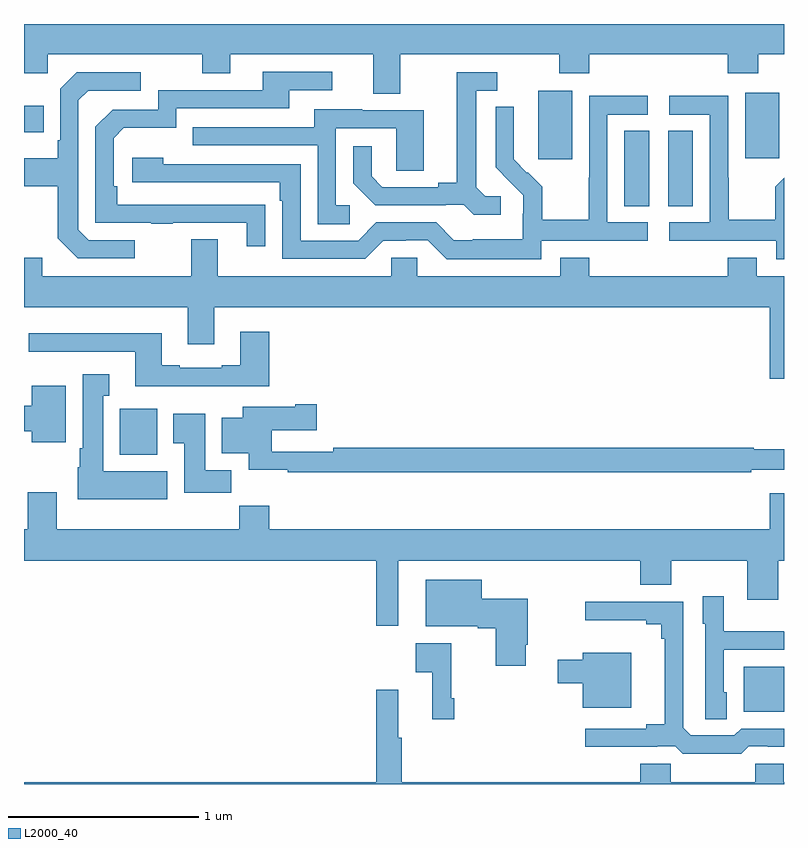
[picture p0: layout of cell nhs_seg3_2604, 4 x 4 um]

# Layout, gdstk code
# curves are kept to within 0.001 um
import gdstk
lib = gdstk.Library(unit=1e-6, precision=1e-09)
def R(c, l, rs):  # rectangles x0, y0, x1, y1
    for r in rs: c.add(gdstk.rectangle(r[:2], r[2:], *l))
def P(c, l, *ps):  # polygons
    for p in ps: c.add(gdstk.Polygon(p, *l))
L2000_40 = (2000, 40)

nhs_seg3_2604 = lib.new_cell('nhs_seg3_2604')
R(nhs_seg3_2604, L2000_40, [(248.789,706.781,249,707.017), (245.504,708.134,245.701,708.376), (248.159,709.441,248.29,709.838), (248.39,709.441,248.521,709.838), (247.706,709.689,247.885,710.05), (248.795,709.694,248.974,710.038), (245,709.829,245.105,709.969)])
P(nhs_seg3_2604, L2000_40, [(246.979,710.24),(247.816,710.24),(247.816,710.141),(247.976,710.141),(247.976,710.24),(248.705,710.24),(248.705,710.141),(248.865,710.141),(248.865,710.24),(249,710.24),(249,710.4),(245,710.4),(245,710.141),(245.124,710.141),(245.124,710.24),(245.938,710.24),(245.938,710.141),(246.085,710.141),(246.085,710.24),(246.839,710.24),(246.839,710.032),(246.979,710.032)],
  [(246.269,709.448),(245.492,709.449),(245.492,709.546),(245.472,709.546),(245.472,709.8),(245.525,709.853),(245.802,709.853),(245.802,709.956),(246.397,709.956),(246.397,710.052),(246.622,710.052),(246.622,710.148),(246.257,710.148),(246.257,710.052),(245.706,710.052),(245.706,709.95),(245.466,709.95),(245.376,709.86),(245.376,709.353),(245.671,709.353),(245.671,709.348),(245.783,709.348),(245.783,709.353),(246.173,709.353),(246.173,709.23),(246.269,709.23)],
  [(245.584,709.263),(245.34,709.263),(245.286,709.317),(245.286,709.998),(245.337,710.049),(245.614,710.049),(245.614,710.145),(245.277,710.145),(245.19,710.058),(245.19,709.789),(245.178,709.789),(245.178,709.693),(245,709.693),(245,709.546),(245.178,709.546),(245.178,709.273),(245.283,709.167),(245.584,709.167)],
  [(247.51,709.494),(247.428,709.494),(247.381,709.541),(247.381,710.049),(247.492,710.049),(247.492,710.145),(247.277,710.145),(247.277,709.565),(247.181,709.565),(247.181,709.542),(246.886,709.542),(246.829,709.599),(246.829,709.756),(246.732,709.756),(246.732,709.562),(246.848,709.446),(247.22,709.446),(247.22,709.449),(247.314,709.449),(247.366,709.397),(247.51,709.397)],
  [(247.722,709.26),(248.284,709.26),(248.284,709.356),(248.07,709.356),(248.07,709.923),(248.284,709.923),(248.284,710.022),(247.974,710.022),(247.974,709.592),(247.972,709.592),(247.972,709.369),(247.727,709.369),(247.727,709.543),(247.65,709.62),(247.647,709.617),(247.577,709.688),(247.578,709.964),(247.482,709.964),(247.482,709.646),(247.628,709.498),(247.628,709.401),(247.626,709.401),(247.626,709.267),(247.363,709.267),(247.363,709.263),(247.263,709.263),(247.17,709.356),(246.855,709.356),(246.759,709.26),(246.456,709.26),(246.456,709.662),(245.732,709.662),(245.732,709.696),(245.571,709.696),(245.571,709.566),(246.347,709.566),(246.347,709.469),(246.36,709.469),(246.36,709.164),(246.795,709.164),(246.891,709.26),(247.01,709.26),(247.01,709.263),(247.125,709.263),(247.225,709.163),(247.722,709.163)],
  [(249,709.59),(248.953,709.543),(248.953,709.369),(248.709,709.369),(248.709,709.592),(248.706,709.592),(248.706,710.022),(248.397,710.022),(248.397,709.923),(248.61,709.923),(248.61,709.356),(248.397,709.356),(248.397,709.26),(248.958,709.26),(248.958,709.163),(249,709.163)],
  [(246.715,709.446),(246.642,709.446),(246.642,709.851),(246.96,709.851),(246.96,709.627),(247.105,709.627),(247.105,709.947),(246.781,709.947),(246.781,709.951),(246.527,709.951),(246.527,709.857),(245.887,709.857),(245.887,709.761),(246.546,709.761),(246.546,709.345),(246.715,709.345)],
  [(249,709.072),(248.857,709.072),(248.857,709.171),(248.705,709.171),(248.705,709.072),(247.976,709.072),(247.976,709.171),(247.823,709.171),(247.823,709.072),(247.071,709.072),(247.071,709.17),(246.933,709.17),(246.933,709.072),(246.019,709.072),(246.019,709.267),(245.879,709.267),(245.879,709.072),(245.095,709.072),(245.095,709.171),(245,709.171),(245,708.908),(245.861,708.908),(245.861,708.714),(246.001,708.714),(246.001,708.908),(248.924,708.908),(248.924,708.534),(249,708.534)],
  [(246.29,708.781),(246.137,708.781),(246.137,708.604),(246.041,708.604),(246.041,708.591),(245.821,708.591),(245.821,708.604),(245.725,708.604),(245.725,708.772),(245.025,708.772),(245.025,708.675),(245.585,708.675),(245.585,708.494),(246.29,708.494)],
  [(245.755,708.046),(245.416,708.046),(245.416,708.443),(245.449,708.443),(245.449,708.556),(245.309,708.556),(245.309,708.166),(245.294,708.166),(245.294,708.066),(245.282,708.066),(245.282,707.9),(245.755,707.9)],
  [(245.221,708.496),(245.042,708.496),(245.042,708.392),(245,708.392),(245,708.256),(245.042,708.256),(245.042,708.2),(245.221,708.2)],
  [(248.828,708.054),(249,708.054),(249,708.163),(248.842,708.163),(248.842,708.17),(246.628,708.17),(246.628,708.15),(246.305,708.15),(246.305,708.263),(246.541,708.263),(246.541,708.398),(246.428,708.398),(246.428,708.385),(246.152,708.385),(246.152,708.328),(246.041,708.328),(246.041,708.14),(246.182,708.14),(246.182,708.053),(246.388,708.053),(246.388,708.042),(248.828,708.042)],
  [(246.092,708.052),(245.953,708.052),(245.953,708.349),(245.786,708.349),(245.786,708.193),(245.843,708.193),(245.843,707.934),(246.092,707.934)],
  [(246.97,707.576),(248.243,707.576),(248.243,707.448),(248.407,707.448),(248.407,707.576),(248.807,707.576),(248.807,707.37),(248.971,707.37),(248.971,707.576),(249,707.576),(249,707.929),(248.924,707.929),(248.924,707.74),(246.29,707.74),(246.29,707.864),(246.133,707.864),(246.133,707.74),(245.173,707.74),(245.173,707.935),(245.021,707.935),(245.021,707.74),(245,707.74),(245,707.576),(246.853,707.576),(246.853,707.232),(246.97,707.232)],
  [(247.642,707.134),(247.65,707.134),(247.65,707.374),(247.408,707.374),(247.408,707.476),(247.115,707.476),(247.115,707.231),(247.388,707.231),(247.388,707.219),(247.484,707.219),(247.484,707.022),(247.642,707.022)],
  [(248.698,706.884),(248.682,706.884),(248.682,707.106),(249,707.106),(249,707.202),(248.999,707.202),(248.999,707.203),(248.682,707.203),(248.682,707.389),(248.573,707.389),(248.573,707.244),(248.586,707.244),(248.586,706.741),(248.698,706.741)],
  [(248.814,706.599),(248.914,706.599),(248.914,706.595),(249,706.595),(249,706.692),(248.775,706.692),(248.739,706.656),(248.508,706.656),(248.469,706.695),(248.469,707.358),(247.953,707.358),(247.953,707.261),(248.276,707.261),(248.276,707.242),(248.353,707.242),(248.353,707.165),(248.372,707.165),(248.372,706.715),(248.276,706.715),(248.276,706.692),(247.953,706.692),(247.953,706.595),(248.333,706.595),(248.333,706.599),(248.427,706.599),(248.467,706.56),(248.775,706.56)],
  [(247.265,706.852),(247.248,706.852),(247.248,707.14),(247.062,707.14),(247.062,706.988),(247.148,706.988),(247.148,706.74),(247.265,706.74)],
  [(248.197,707.092),(247.94,707.092),(247.94,707.053),(247.809,707.053),(247.809,706.931),(247.94,706.931),(247.94,706.802),(248.197,706.802)],
  [(249,706.408),(248.998,706.408),(248.998,706.506),(248.848,706.506),(248.848,706.408),(248.403,706.408),(248.403,706.506),(248.243,706.506),(248.243,706.408),(246.989,706.408),(246.989,706.644),(246.971,706.644),(246.971,706.897),(246.853,706.897),(246.853,706.408),(245,706.408),(245,706.4),(249,706.4)])

lib.write_gds('nhs_seg3_2604.gds')
